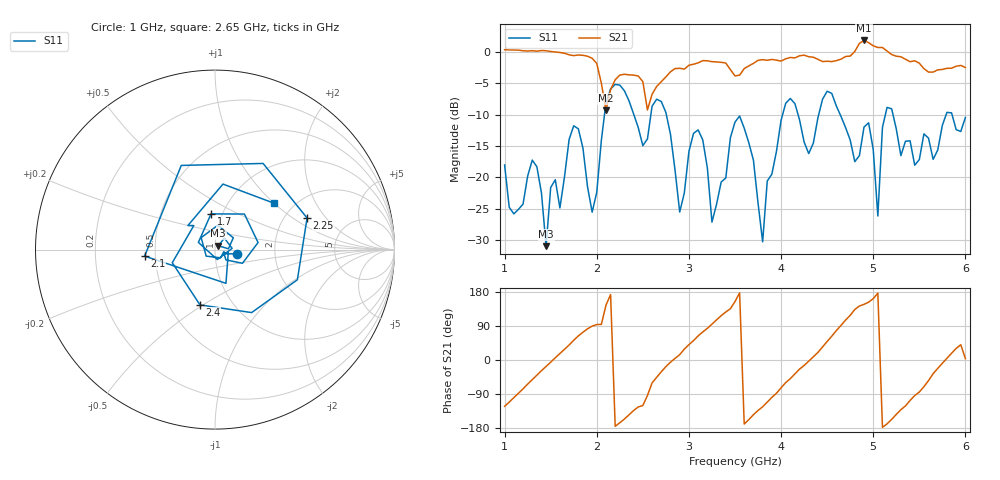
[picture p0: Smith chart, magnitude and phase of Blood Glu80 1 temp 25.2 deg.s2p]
! NanoVNA-App
! Date: 2024-03-20 21:45:36
! Start: 1GHz Stop: 6GHz Points: 101
! S-Parameter data: F S11 S21 S12 S22
# Hz S RI R 50
!	Frequency	S11_Real	S11_Imag	S21_Real	S21_Imag	S12_Real	S12_Imag	S22_Real	S22_Imag
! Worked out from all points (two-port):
!   101 points, 1 GHz to 6 GHz, reference 50 ohm
!   highest |S21| = 1.80 dB at 4.9 GHz (marker M1); lowest = -9.3 dB at 2.1 GHz (marker M2)
!   |S21| within 3 dB of the highest: start of sweep to 1.96 GHz; 4.646 GHz to 5.35 GHz (704.2 MHz wide, 14.1 % of centre) (the widest 2 of 3)
!   lowest |S11| = -31.0 dB at 1.45 GHz (marker M3), VSWR 1.06, Z = 51.8 + j2.22 ohm
!   |S11| at or under -10 dB: start of sweep to 2.084 GHz; 2.755 GHz to 4.017 GHz (1.262 GHz wide, 37.3 % of centre); 5.214 GHz to 5.792 GHz (577.6 MHz wide, 10.5 % of centre) (the widest 3 of 7)
!   S12 and S22 are empty: the file has one direction only
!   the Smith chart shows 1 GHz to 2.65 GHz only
!   S11 on the Smith chart (normalised r, x): 1 GHz: 1.28, -0.06; 1.7 GHz: 0.89, +0.37; 2.1 GHz: 0.44, -0.04; 2.25 GHz: 2.63, +1.31; 2.4 GHz: 0.71, -0.49; 2.65 GHz: 1.60, +1.00
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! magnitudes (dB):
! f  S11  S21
! 1 GHz  -18.0  0.3
! 1.35 GHz  -18.3  0.1
! 1.45 GHz  -31.0  0.2
! 1.7 GHz  -14.0  -0.5
! 1.85 GHz  -15.3  -0.6
! 1.95 GHz  -25.6  -1.0
! 2.1 GHz  -8.1  -9.3
! 2.25 GHz  -5.3  -3.7
! 2.4 GHz  -9.9  -3.7
! 2.65 GHz  -7.6  -5.5
! 2.7 GHz  -7.9  -4.8
! 2.9 GHz  -25.6  -2.6
! 3.1 GHz  -12.5  -1.8
! 3.25 GHz  -27.2  -1.6
! 3.5 GHz  -11.2  -3.8
! 3.8 GHz  -30.3  -1.3
! 4.05 GHz  -8.2  -1.1
! 4.35 GHz  -14.6  -0.9
! 4.9 GHz  -12.0  1.8
! 5.05 GHz  -26.2  0.7
! 5.2 GHz  -9.1  -0.4
! 6 GHz  -10.5  -2.5
